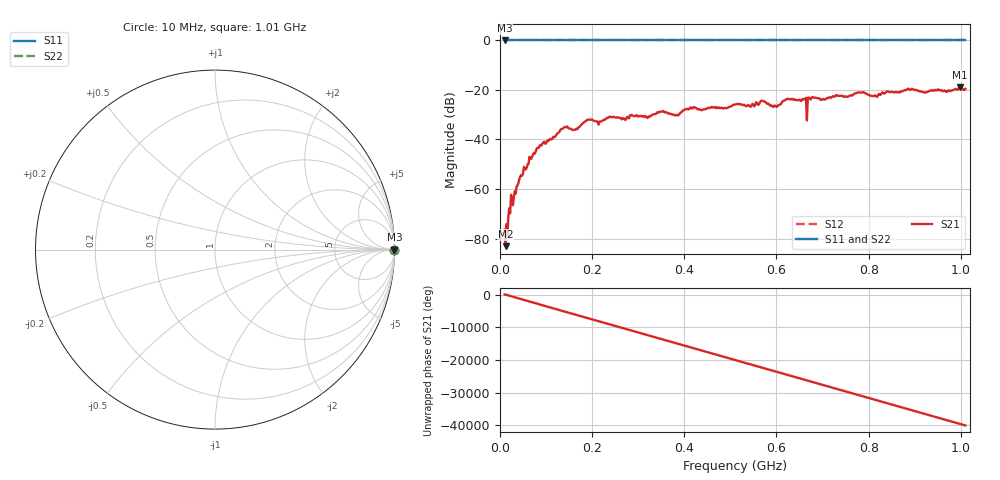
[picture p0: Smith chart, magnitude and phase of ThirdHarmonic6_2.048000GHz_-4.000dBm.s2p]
! 8/17/2025 12:33:10 AM
! C:\ANRITSUVNA\TEMP\TEMP.S2P
! CHANNEL.1
! TR.MEASUREMENT
! RAW.DATA
! RF.CORRECTION.OFF
! AVERAGING.OFF
! IF.BANDWIDTH: 5KHZ
! SWEEPTYPE:  FREQ.SWEEP(Linear)
! Reference Plane Port Info
! PORT:  PORT1  PORT2
! DISTANCE:  0  m  0  m
! TIME:  0  s  0  s
! PHASE.OFFSET:  0  deg.  0  deg.
! LOSS:  0  dB  0  dB
! REF.LOSS:  0  dB  0  dB
! REF.FREQ:  0  Hz  0  Hz
! Power Info
! POWER:  -20  dBm  -20  dBm
! EFF.POWER:  -20  dBm  -20  dBm
! SOURCE.ATTEN:  0  dB  0  dB
! TEST.ATTEN:  0  dB  0  dB
# GHZ S RI R 50.0
! FREQ.GHZ  S11RE  S11IM  S21RE  S21IM  S12RE  S12IM  S22RE  S22IM
!; PortSelection: Port_12
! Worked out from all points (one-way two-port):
!   501 points, 10 MHz to 1.01 GHz, reference 50 ohm
!   highest |S21| = -18.84 dB at 998 MHz (marker M1); lowest = -83.1 dB at 12 MHz (marker M2)
!   lowest |S11| = 0.0 dB at 10 MHz (marker M3)
!   |S11| at or under -10 dB: nowhere
!   |S22| runs from 0.0 to 0.0 dB; largest |S21 - S12| = 1.1
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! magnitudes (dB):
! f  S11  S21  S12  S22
! 10 MHz  0.0  -76.4  0.0  0.0
! 12 MHz  0.0  -83.1  0.0  0.0
! 22 MHz  0.0  -69.8  0.0  0.0
! 28 MHz  0.0  -66.5  0.0  0.0
! 48 MHz  0.0  -54.6  0.0  0.0
! 68 MHz  0.0  -47.8  0.0  0.0
! 136 MHz  0.0  -35.7  0.0  0.0
! 162 MHz  0.0  -36.0  0.0  0.0
! 178 MHz  0.0  -33.8  0.0  0.0
! 344 MHz  0.0  -29.1  0.0  0.0
! 384 MHz  0.0  -30.0  0.0  0.0
! 416 MHz  0.0  -27.5  0.0  0.0
! 510 MHz  0.0  -25.9  0.0  0.0
! 570 MHz  0.0  -24.4  0.0  0.0
! 596 MHz  0.0  -26.3  0.0  0.0
! 622 MHz  0.0  -23.7  0.0  0.0
! 660 MHz  0.0  -23.8  0.0  0.0
! 662 MHz  0.0  -23.4  0.0  0.0
! 678 MHz  0.0  -22.9  0.0  0.0
! 844 MHz  0.0  -20.8  0.0  0.0
! 998 MHz  0.0  -18.8  0.0  0.0
! 1.01 GHz  0.0  -19.6  0.0  0.0
